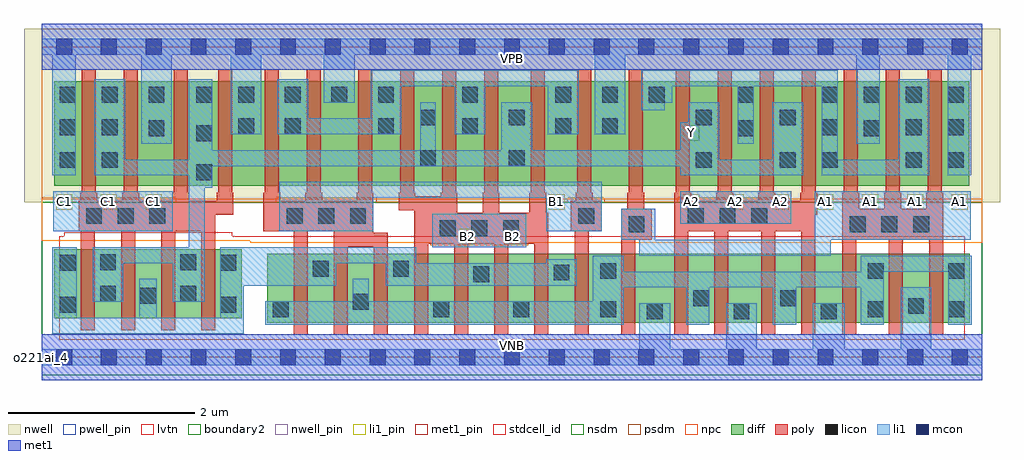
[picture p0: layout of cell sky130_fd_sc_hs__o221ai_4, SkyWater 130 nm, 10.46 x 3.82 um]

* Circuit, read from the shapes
.subckt sky130_fd_sc_hs__o221ai_4 A1 A2 B1 B2 C1 VGND VNB VPB VPWR Y
XM1 Y C1 n1 VNB sky130_fd_pr__nfet_01v8_lvt w=0.74 l=0.15 m=4
XM2 n1 B1 n2 VNB sky130_fd_pr__nfet_01v8_lvt w=0.74 l=0.15 m=4
XM3 n2 B2 n1 VNB sky130_fd_pr__nfet_01v8_lvt w=0.74 l=0.15 m=4
XM4 VGND A1 n2 VNB sky130_fd_pr__nfet_01v8_lvt w=0.74 l=0.15 m=4
XM5 n2 A2 VGND VNB sky130_fd_pr__nfet_01v8_lvt w=0.74 l=0.15 m=4
XM6 Y C1 VPWR VPB sky130_fd_pr__pfet_01v8 w=1.12 l=0.15 m=4
XM7 n3 B1 VPWR VPB sky130_fd_pr__pfet_01v8 w=1.12 l=0.15 m=4
XM8 Y B2 n3 VPB sky130_fd_pr__pfet_01v8 w=1.12 l=0.15 m=4
XM9 n4 A1 VPWR VPB sky130_fd_pr__pfet_01v8 w=1.12 l=0.15 m=4
XM10 Y A2 n4 VPB sky130_fd_pr__pfet_01v8 w=1.12 l=0.15 m=4
.ends

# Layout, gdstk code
import gdstk
lib = gdstk.Library(unit=1e-6, precision=1e-09)
def R(c, l, rs):  # rectangles x0, y0, x1, y1
    for r in rs: c.add(gdstk.rectangle(r[:2], r[2:], *l))
def A(c, l, x, y, w, h, nx, ny, dx, dy):  # array of equal rectangles
    R(c, l, [(x+i*dx, y+j*dy, x+i*dx+w, y+j*dy+h) for i in range(nx) for j in range(ny)])
def P(c, l, *ps):  # polygons
    for p in ps: c.add(gdstk.Polygon(p, *l))
nwell_pin = (64, 16)
nwell = (64, 20)
diff = (65, 20)
poly = (66, 20)
licon = (66, 44)
li1_pin = (67, 16)
li1 = (67, 20)
mcon = (67, 44)
met1_pin = (68, 16)
met1 = (68, 20)
stdcell_id = (81, 4)
nsdm = (93, 44)
psdm = (94, 20)
npc = (95, 20)
pwell_pin = (122, 16)
lvtn = (125, 44)
boundary2 = (236, 0)

sky130_fd_sc_hs__o221ai_ = lib.new_cell('sky130_fd_sc_hs__o221ai_4')
R(sky130_fd_sc_hs__o221ai_, nwell_pin, [(0,3.085,10.08,3.33)])
R(sky130_fd_sc_hs__o221ai_, nwell, [(-0.19,1.66,10.27,3.52)])
R(sky130_fd_sc_hs__o221ai_, diff, [(2.415,0.37,9.945,1.11), (0.135,0.42,2.145,1.16), (0.135,1.84,9.94,2.96)])
P(sky130_fd_sc_hs__o221ai_, poly, [(8.31,1.765),(8.295,1.765),(8.295,3.09),(8.145,3.09),(8.145,1.765),(8.13,1.765),(8.13,1.68),(7.86,1.68),(7.86,1.765),(7.845,1.765),(7.845,3.09),(7.695,3.09),(7.695,1.765),(7.68,1.765),(7.68,1.68),(7.41,1.68),(7.41,1.765),(7.395,1.765),(7.395,3.09),(7.245,3.09),(7.245,1.765),(7.23,1.765),(7.23,1.68),(6.96,1.68),(6.96,1.765),(6.945,1.765),(6.945,3.09),(6.795,3.09),(6.795,1.765),(6.78,1.765),(6.78,0.24),(6.93,0.24),(6.93,1.35),(7.21,1.35),(7.21,0.24),(7.36,0.24),(7.36,1.35),(7.71,1.35),(7.71,0.24),(7.86,0.24),(7.86,1.35),(8.14,1.35),(8.14,0.24),(8.29,0.24),(8.29,1.53),(8.31,1.53)],
  [(9.66,1.765),(9.645,1.765),(9.645,3.09),(9.495,3.09),(9.495,1.765),(9.48,1.765),(9.48,1.59),(9.21,1.59),(9.21,1.765),(9.195,1.765),(9.195,3.09),(9.045,3.09),(9.045,1.765),(9.03,1.765),(9.03,1.59),(8.76,1.59),(8.76,1.765),(8.745,1.765),(8.745,3.09),(8.595,3.09),(8.595,1.765),(8.58,1.765),(8.58,0.24),(8.73,0.24),(8.73,1.26),(9.08,1.26),(9.08,0.24),(9.23,0.24),(9.23,1.26),(9.51,1.26),(9.51,0.24),(9.66,0.24)],
  [(2.055,1.765),(2.04,1.765),(2.04,3.09),(1.89,3.09),(1.89,1.765),(1.875,1.765),(1.875,1.68),(1.58,1.68),(1.58,1.765),(1.565,1.765),(1.565,3.09),(1.415,3.09),(1.415,1.765),(1.4,1.765),(1.4,1.68),(1.045,1.68),(1.045,1.765),(1.03,1.765),(1.03,3.09),(0.88,3.09),(0.88,1.765),(0.865,1.765),(0.865,1.68),(0.595,1.68),(0.595,1.765),(0.58,1.765),(0.58,3.09),(0.43,3.09),(0.43,1.765),(0.415,1.765),(0.415,1.68),(0.395,1.68),(0.395,1.35),(0.42,1.35),(0.42,0.29),(0.57,0.29),(0.57,1.35),(0.85,1.35),(0.85,0.29),(1,0.29),(1,1.35),(1.28,1.35),(1.28,0.29),(1.43,0.29),(1.43,1.35),(1.71,1.35),(1.71,0.29),(1.86,0.29),(1.86,1.53),(2.055,1.53)],
  [(3.71,1.335),(3.555,1.335),(3.555,1.765),(3.54,1.765),(3.54,3.09),(3.39,3.09),(3.39,1.765),(3.375,1.765),(3.375,1.68),(3.005,1.68),(3.005,1.765),(2.99,1.765),(2.99,3.09),(2.84,3.09),(2.84,1.765),(2.825,1.765),(2.825,1.68),(2.555,1.68),(2.555,1.765),(2.54,1.765),(2.54,3.09),(2.39,3.09),(2.39,1.765),(2.375,1.765),(2.375,1.35),(2.7,1.35),(2.7,0.24),(2.85,0.24),(2.85,1.35),(3.13,1.35),(3.13,0.24),(3.28,0.24),(3.28,1.185),(3.56,1.185),(3.56,0.24),(3.71,0.24)],
  [(5.43,1.55),(5.405,1.55),(5.405,1.765),(5.39,1.765),(5.39,3.09),(5.24,3.09),(5.24,1.765),(5.225,1.765),(5.225,1.55),(4.905,1.55),(4.905,1.765),(4.89,1.765),(4.89,3.09),(4.74,3.09),(4.74,1.765),(4.725,1.765),(4.725,1.55),(4.455,1.55),(4.455,1.765),(4.44,1.765),(4.44,3.09),(4.29,3.09),(4.29,1.765),(4.275,1.765),(4.275,1.725),(4.005,1.725),(4.005,1.765),(3.99,1.765),(3.99,3.09),(3.84,3.09),(3.84,1.765),(3.825,1.765),(3.825,1.575),(3.99,1.575),(3.99,0.24),(4.14,0.24),(4.14,1.22),(4.42,1.22),(4.42,0.24),(4.57,0.24),(4.57,1.22),(4.85,1.22),(4.85,0.24),(5,0.24),(5,1.22),(5.28,1.22),(5.28,0.24),(5.43,0.24)],
  [(6,1.68),(5.905,1.68),(5.905,1.765),(5.89,1.765),(5.89,3.09),(5.74,3.09),(5.74,1.765),(5.725,1.765),(5.725,1.68),(5.67,1.68),(5.67,1.35),(5.71,1.35),(5.71,0.24),(5.86,0.24),(5.86,1.35),(6,1.35)],
  [(6.54,1.59),(6.455,1.59),(6.455,1.765),(6.44,1.765),(6.44,3.09),(6.29,3.09),(6.29,1.765),(6.275,1.765),(6.275,1.59),(6.21,1.59),(6.21,0.24),(6.36,0.24),(6.36,1.26),(6.54,1.26)])
A(sky130_fd_sc_hs__o221ai_, licon, 4.265, 1.3, 0.17, 0.17, 3, 1, 0.34, 0)
A(sky130_fd_sc_hs__o221ai_, licon, 8.66, 1.34, 0.17, 0.17, 3, 1, 0.34, 0)
A(sky130_fd_sc_hs__o221ai_, licon, 0.475, 1.43, 0.17, 0.17, 3, 1, 0.34, 0)
A(sky130_fd_sc_hs__o221ai_, licon, 2.625, 1.43, 0.17, 0.17, 3, 1, 0.34, 0)
A(sky130_fd_sc_hs__o221ai_, licon, 6.925, 1.43, 0.17, 0.17, 3, 1, 0.34, 0)
A(sky130_fd_sc_hs__o221ai_, licon, 1.655, 1.9, 0.17, 0.17, 1, 3, 0, 0.415)
A(sky130_fd_sc_hs__o221ai_, licon, 0.195, 2.03, 0.17, 0.17, 1, 3, 0, 0.35)
A(sky130_fd_sc_hs__o221ai_, licon, 0.645, 2.03, 0.17, 0.17, 1, 3, 0, 0.35)
A(sky130_fd_sc_hs__o221ai_, licon, 2.105, 2.73, 0.17, 0.17, 4, 1, 0.5, 0)
A(sky130_fd_sc_hs__o221ai_, licon, 5.505, 2.73, 0.17, 0.17, 3, 1, 0.5, 0)
A(sky130_fd_sc_hs__o221ai_, licon, 8.36, 2.73, 0.17, 0.17, 4, 1, 0.45, 0)
R(sky130_fd_sc_hs__o221ai_, licon, [(6.485,0.41,6.655,0.58), (7.415,0.41,7.585,0.58), (8.35,0.41,8.52,0.58), (2.475,0.43,2.645,0.6), (4.195,0.43,4.365,0.6), (5.055,0.43,5.225,0.6), (5.985,0.43,6.155,0.6), (8.855,0.43,9.025,0.6), (9.715,0.43,9.885,0.6), (9.285,0.465,9.455,0.635), (0.195,0.48,0.365,0.65), (1.915,0.48,2.085,0.65), (3.335,0.51,3.505,0.68), (6.985,0.55,7.155,0.72), (7.915,0.55,8.085,0.72), (1.055,0.575,1.225,0.745), (0.625,0.595,0.795,0.765), (1.485,0.595,1.655,0.765), (4.625,0.805,4.795,0.975), (5.485,0.825,5.655,0.995), (5.985,0.84,6.155,1.01), (8.855,0.84,9.025,1.01), (9.715,0.84,9.885,1.01), (2.905,0.865,3.075,1.035), (3.765,0.865,3.935,1.035), (0.195,0.93,0.365,1.1), (1.915,0.93,2.085,1.1), (0.625,0.935,0.795,1.105), (1.485,0.935,1.655,1.105), (6.29,1.34,6.46,1.51), (5.75,1.43,5.92,1.6), (7.01,2.03,7.18,2.2), (7.91,2.03,8.08,2.2), (8.36,2.03,8.53,2.2), (9.26,2.03,9.43,2.2), (9.71,2.03,9.88,2.2), (4.055,2.05,4.225,2.22), (5.005,2.05,5.175,2.22), (1.145,2.37,1.315,2.54), (7.46,2.37,7.63,2.54), (8.81,2.37,8.98,2.54), (8.36,2.38,8.53,2.55), (9.26,2.38,9.43,2.55), (9.71,2.38,9.88,2.55), (2.105,2.39,2.275,2.56), (2.605,2.39,2.775,2.56), (3.605,2.39,3.775,2.56), (4.505,2.39,4.675,2.56), (5.505,2.39,5.675,2.56), (6.005,2.39,6.175,2.56), (4.055,2.485,4.225,2.655), (5.005,2.485,5.175,2.655), (7.01,2.485,7.18,2.655), (7.91,2.485,8.08,2.655), (1.145,2.73,1.315,2.9), (4.505,2.73,4.675,2.9), (7.46,2.73,7.63,2.9)])
A(sky130_fd_sc_hs__o221ai_, li1_pin, 0.155, 1.58, 0.17, 0.17, 3, 1, 0.48, 0)
A(sky130_fd_sc_hs__o221ai_, li1_pin, 6.875, 1.58, 0.17, 0.17, 7, 1, 0.48, 0)
R(sky130_fd_sc_hs__o221ai_, li1_pin, [(4.475,1.21,4.645,1.38), (4.955,1.21,5.125,1.38), (5.435,1.58,5.605,1.75), (6.875,2.32,7.045,2.49)])
R(sky130_fd_sc_hs__o221ai_, li1, [(4.185,1.18,5.195,1.54), (0.125,1.35,1.405,1.78), (6.845,1.43,8.035,1.78)])
P(sky130_fd_sc_hs__o221ai_, li1, [(0,-0.085),(0,0.085),(6.405,0.085),(6.405,0.58),(6.735,0.58),(6.735,0.085),(7.335,0.085),(7.335,0.58),(7.665,0.58),(7.665,0.085),(8.265,0.085),(8.265,0.58),(8.605,0.58),(8.605,0.085),(9.205,0.085),(9.205,0.75),(9.535,0.75),(9.535,0.085),(10.08,0.085),(10.08,-0.085)],
  [(0,3.245),(0,3.415),(10.08,3.415),(10.08,3.245),(9.96,3.245),(9.96,1.95),(9.71,1.95),(9.71,3.245),(8.98,3.245),(8.98,2.29),(8.73,2.29),(8.73,3.245),(6.255,3.245),(6.255,2.39),(5.925,2.39),(5.925,3.245),(3.355,3.245),(3.355,2.73),(3.025,2.73),(3.025,3.245),(2.355,3.245),(2.355,2.39),(2.025,2.39),(2.025,3.245),(1.395,3.245),(1.395,2.29),(1.065,2.29),(1.065,3.245),(0.365,3.245),(0.365,1.95),(0.115,1.95),(0.115,3.245)],
  [(6,1.88),(6,1.35),(5.405,1.35),(5.405,1.71),(3.555,1.71),(3.555,1.35),(2.545,1.35),(2.545,1.88)],
  [(6.93,2.52),(6.93,2.735),(7.26,2.735),(7.26,2.12),(7.83,2.12),(7.83,2.735),(8.16,2.735),(8.16,1.95),(6.845,1.95),(6.845,2.05),(1.825,2.05),(1.825,1.82),(1.745,1.82),(1.745,0.595),(1.405,0.595),(1.405,1.01),(0.875,1.01),(0.875,0.595),(0.545,0.595),(0.545,1.18),(1.575,1.18),(1.575,1.95),(0.565,1.95),(0.565,2.98),(0.895,2.98),(0.895,2.12),(1.575,2.12),(1.575,2.98),(1.825,2.98),(1.825,2.22),(4.055,2.22),(4.055,2.735),(4.225,2.735),(4.225,2.22),(4.925,2.22),(4.925,2.735),(5.255,2.735),(5.255,2.22),(6.845,2.22),(6.845,2.52)],
  [(8.285,1.26),(8.285,1.78),(9.955,1.78),(9.955,1.26),(8.455,1.26),(8.455,1.09),(6.405,1.09),(6.405,1.26),(6.21,1.26),(6.21,1.59),(6.575,1.59),(6.575,1.26)],
  [(9.715,0.35),(9.715,0.92),(9.025,0.92),(9.025,0.35),(8.775,0.35),(8.775,0.75),(8.085,0.75),(8.085,0.35),(7.835,0.35),(7.835,0.75),(7.155,0.75),(7.155,0.35),(6.905,0.35),(6.905,0.75),(6.235,0.75),(6.235,0.35),(2.395,0.35),(2.395,0.6),(3.335,0.6),(3.335,0.84),(3.505,0.84),(3.505,0.6),(5.905,0.6),(5.905,1.09),(6.235,1.09),(6.235,0.92),(8.775,0.92),(8.775,1.09),(9.965,1.09),(9.965,0.35)],
  [(9.51,2.98),(9.18,2.98),(9.18,2.12),(8.53,2.12),(8.53,3.075),(6.425,3.075),(6.425,2.65),(6.675,2.65),(6.675,2.73),(6.76,2.73),(6.76,2.905),(7.46,2.905),(7.46,2.29),(7.63,2.29),(7.63,2.905),(8.36,2.905),(8.36,1.95),(9.51,1.95)],
  [(5.425,2.905),(4.755,2.905),(4.755,2.39),(4.425,2.39),(4.425,2.905),(3.855,2.905),(3.855,2.39),(2.525,2.39),(2.525,2.98),(2.855,2.98),(2.855,2.56),(3.525,2.56),(3.525,3.075),(5.755,3.075),(5.755,2.39),(5.425,2.39)],
  [(4.015,1.18),(4.015,1.01),(5.405,1.01),(5.405,1.05),(5.735,1.05),(5.735,0.77),(3.685,0.77),(3.685,1.01),(3.155,1.01),(3.155,0.77),(2.165,0.77),(2.165,0.255),(0.115,0.255),(0.115,1.18),(0.375,1.18),(0.375,0.425),(1.045,0.425),(1.045,0.84),(1.235,0.84),(1.235,0.425),(1.915,0.425),(1.915,1.18)])
A(sky130_fd_sc_hs__o221ai_, mcon, 0.155, -0.085, 0.17, 0.17, 21, 2, 0.48, 3.33)
R(sky130_fd_sc_hs__o221ai_, met1_pin, [(0,0,10.08,0.245), (0,3.085,10.08,3.33)])
R(sky130_fd_sc_hs__o221ai_, met1, [(0,-0.245,10.08,0.245), (0,3.085,10.08,3.575)])
R(sky130_fd_sc_hs__o221ai_, stdcell_id, [(0,0,10.08,3.33)])
R(sky130_fd_sc_hs__o221ai_, nsdm, [(0,-0.19,10.08,1.66)])
P(sky130_fd_sc_hs__o221ai_, psdm, [(10.08,3.52),(0,3.52),(0,1.71),(1.435,1.71),(1.435,1.66),(2.515,1.66),(2.515,1.71),(3.585,1.71),(3.585,1.66),(5.64,1.66),(5.64,1.71),(6.03,1.71),(6.03,1.66),(6.815,1.66),(6.815,1.71),(7.885,1.71),(7.885,1.66),(10.08,1.66)])
P(sky130_fd_sc_hs__o221ai_, npc, [(10.08,1.7),(0,1.7),(0,1.25),(2.235,1.25),(2.235,1.23),(4.165,1.23),(4.165,1.2),(5.215,1.2),(5.215,1.23),(10.08,1.23)])
R(sky130_fd_sc_hs__o221ai_, pwell_pin, [(0,0,10.08,0.245)])
P(sky130_fd_sc_hs__o221ai_, lvtn, [(9.89,1.3),(2.04,1.3),(2.04,1.34),(0.24,1.34),(0.24,1.3),(0.19,1.3),(0.19,0.19),(9.89,0.19)])
R(sky130_fd_sc_hs__o221ai_, boundary2, [(0,0,10.08,3.33)])
sky130_fd_sc_hs__o221ai_.add(gdstk.Label('o221ai_4', (0,0), layer=83, texttype=44))
sky130_fd_sc_hs__o221ai_.add(gdstk.Label('VNB', (5.04,0.123), layer=64, texttype=59))
sky130_fd_sc_hs__o221ai_.add(gdstk.Label('VPB', (5.04,3.208), layer=64, texttype=5))
sky130_fd_sc_hs__o221ai_.add(gdstk.Label('VPWR', (5.04,3.208), layer=68, texttype=5))
sky130_fd_sc_hs__o221ai_.add(gdstk.Label('VGND', (5.04,0.123), layer=68, texttype=5))
sky130_fd_sc_hs__o221ai_.add(gdstk.Label('B1', (5.52,1.665), layer=67, texttype=5))
sky130_fd_sc_hs__o221ai_.add(gdstk.Label('A2', (6.96,1.665), layer=67, texttype=5))
sky130_fd_sc_hs__o221ai_.add(gdstk.Label('A2', (7.44,1.665), layer=67, texttype=5))
sky130_fd_sc_hs__o221ai_.add(gdstk.Label('A2', (7.92,1.665), layer=67, texttype=5))
sky130_fd_sc_hs__o221ai_.add(gdstk.Label('C1', (0.24,1.665), layer=67, texttype=5))
sky130_fd_sc_hs__o221ai_.add(gdstk.Label('C1', (0.72,1.665), layer=67, texttype=5))
sky130_fd_sc_hs__o221ai_.add(gdstk.Label('C1', (1.2,1.665), layer=67, texttype=5))
sky130_fd_sc_hs__o221ai_.add(gdstk.Label('B2', (4.56,1.295), layer=67, texttype=5))
sky130_fd_sc_hs__o221ai_.add(gdstk.Label('B2', (5.04,1.295), layer=67, texttype=5))
sky130_fd_sc_hs__o221ai_.add(gdstk.Label('Y', (6.96,2.405), layer=67, texttype=5))
sky130_fd_sc_hs__o221ai_.add(gdstk.Label('A1', (8.4,1.665), layer=67, texttype=5))
sky130_fd_sc_hs__o221ai_.add(gdstk.Label('A1', (8.88,1.665), layer=67, texttype=5))
sky130_fd_sc_hs__o221ai_.add(gdstk.Label('A1', (9.36,1.665), layer=67, texttype=5))
sky130_fd_sc_hs__o221ai_.add(gdstk.Label('A1', (9.84,1.665), layer=67, texttype=5))

lib.write_gds('sky130_fd_sc_hs__o221ai_4.gds')
